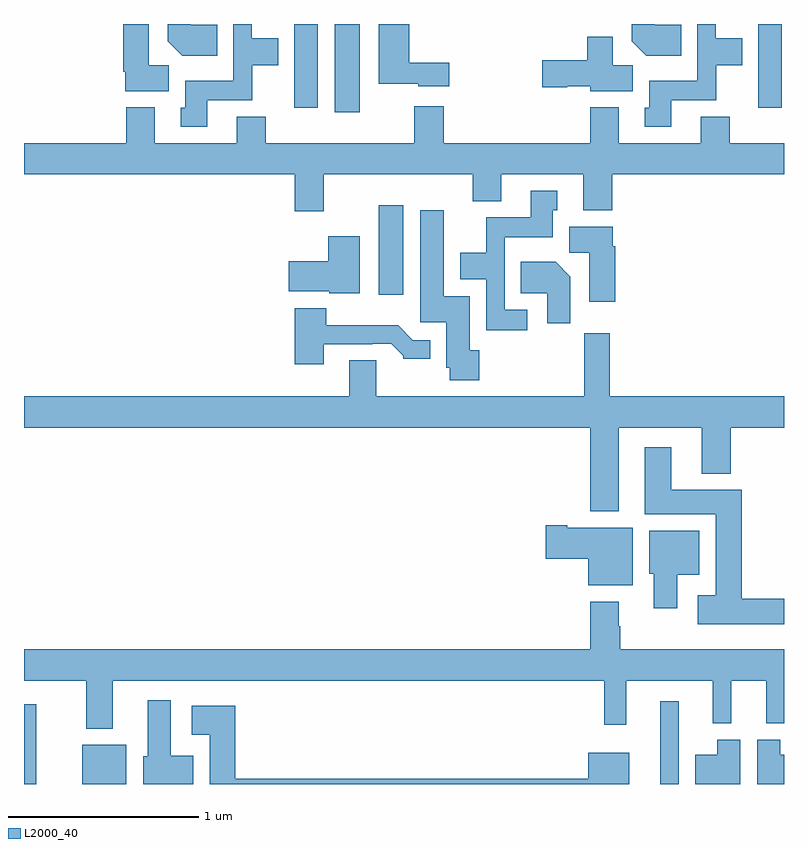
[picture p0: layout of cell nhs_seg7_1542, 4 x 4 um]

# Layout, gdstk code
import gdstk
lib = gdstk.Library(unit=1e-6, precision=1e-09)
def R(c, l, rs):  # rectangles x0, y0, x1, y1
    for r in rs: c.add(gdstk.rectangle(r[:2], r[2:], *l))
def P(c, l, *ps):  # polygons
    for p in ps: c.add(gdstk.Polygon(p, *l))
L2000_40 = (2000, 40)

nhs_seg7_1542 = lib.new_cell('nhs_seg7_1542')
R(nhs_seg7_1542, L2000_40, [(215,1072,215.065,1072.42), (215.306,1072,215.539,1072.207), (218.348,1072,218.445,1072.435), (216.866,1074.576,216.997,1075.045), (216.635,1075.536,216.766,1076), (216.422,1075.56,216.547,1076), (218.864,1075.56,218.989,1076)])
P(nhs_seg7_1542, L2000_40, [(218.407,1075.598),(218.643,1075.598),(218.643,1075.784),(218.779,1075.784),(218.779,1075.924),(218.64,1075.924),(218.64,1076),(218.544,1076),(218.544,1075.702),(218.291,1075.702),(218.291,1075.56),(218.267,1075.56),(218.267,1075.458),(218.407,1075.458)],
  [(215.965,1075.598),(216.201,1075.598),(216.201,1075.784),(216.337,1075.784),(216.337,1075.924),(216.198,1075.924),(216.198,1076),(216.102,1076),(216.102,1075.702),(215.849,1075.702),(215.849,1075.56),(215.825,1075.56),(215.825,1075.458),(215.965,1075.458)],
  [(218.459,1075.996),(218.32,1075.996),(218.32,1076),(218.198,1076),(218.198,1075.91),(218.276,1075.832),(218.459,1075.832)],
  [(215.761,1075.784),(215.656,1075.784),(215.656,1076),(215.522,1076),(215.522,1075.75),(215.534,1075.75),(215.534,1075.646),(215.761,1075.646)],
  [(216.017,1075.996),(215.878,1075.996),(215.878,1076),(215.756,1076),(215.756,1075.91),(215.834,1075.832),(216.017,1075.832)],
  [(217.237,1075.795),(217.028,1075.795),(217.028,1075.999),(216.866,1075.999),(216.866,1075.685),(217.074,1075.685),(217.074,1075.673),(217.237,1075.673)],
  [(218.203,1075.784),(218.098,1075.784),(218.098,1075.933),(217.964,1075.933),(217.964,1075.808),(217.728,1075.808),(217.728,1075.666),(217.86,1075.666),(217.86,1075.673),(217.98,1075.673),(217.98,1075.646),(218.203,1075.646)],
  [(216.577,1075.208),(217.361,1075.208),(217.361,1075.067),(217.513,1075.067),(217.513,1075.208),(217.943,1075.208),(217.943,1075.019),(218.096,1075.019),(218.096,1075.208),(219,1075.208),(219,1075.372),(218.714,1075.372),(218.714,1075.513),(218.561,1075.513),(218.561,1075.372),(218.131,1075.372),(218.131,1075.561),(217.979,1075.561),(217.979,1075.372),(217.208,1075.372),(217.208,1075.567),(217.055,1075.567),(217.055,1075.372),(216.272,1075.372),(216.272,1075.513),(216.119,1075.513),(216.119,1075.372),(215.689,1075.372),(215.689,1075.561),(215.537,1075.561),(215.537,1075.372),(215,1075.372),(215,1075.208),(216.425,1075.208),(216.425,1075.014),(216.577,1075.014)],
  [(217.648,1074.495),(217.53,1074.495),(217.53,1074.878),(217.783,1074.878),(217.783,1075.02),(217.807,1075.02),(217.807,1075.123),(217.667,1075.123),(217.667,1074.982),(217.432,1074.982),(217.432,1074.796),(217.295,1074.796),(217.295,1074.656),(217.434,1074.656),(217.434,1074.387),(217.648,1074.387)],
  [(217.397,1074.282),(217.345,1074.282),(217.345,1074.568),(217.21,1074.568),(217.21,1075.021),(217.085,1075.021),(217.085,1074.429),(217.223,1074.429),(217.223,1074.192),(217.24,1074.192),(217.24,1074.126),(217.397,1074.126)],
  [(218.111,1074.83),(218.098,1074.83),(218.098,1074.934),(217.871,1074.934),(217.871,1074.796),(217.976,1074.796),(217.976,1074.537),(218.111,1074.537)],
  [(216.766,1074.883),(216.602,1074.883),(216.602,1074.751),(216.393,1074.751),(216.393,1074.593),(216.606,1074.593),(216.606,1074.584),(216.766,1074.584)],
  [(217.876,1074.67),(217.798,1074.748),(217.615,1074.748),(217.615,1074.584),(217.754,1074.584),(217.754,1074.426),(217.876,1074.426)],
  [(216.577,1074.315),(216.833,1074.315),(216.833,1074.318),(216.932,1074.318),(216.996,1074.254),(216.996,1074.239),(217.138,1074.239),(217.138,1074.336),(217.047,1074.336),(216.969,1074.415),(216.59,1074.415),(216.59,1074.505),(216.425,1074.505),(216.425,1074.21),(216.577,1074.21)],
  [(217.948,1074.04),(216.853,1074.04),(216.853,1074.23),(216.713,1074.23),(216.713,1074.04),(215,1074.04),(215,1073.876),(217.979,1073.876),(217.979,1073.435),(218.131,1073.435),(218.131,1073.876),(218.567,1073.876),(218.567,1073.633),(218.72,1073.633),(218.72,1073.876),(219,1073.876),(219,1074.04),(218.084,1074.04),(218.084,1074.373),(217.948,1074.373)],
  [(219,1072.976),(218.777,1072.976),(218.777,1073.548),(218.407,1073.548),(218.407,1073.773),(218.267,1073.773),(218.267,1073.42),(218.642,1073.42),(218.642,1072.993),(218.547,1072.993),(218.547,1072.841),(219,1072.841)],
  [(218.203,1073.35),(217.858,1073.35),(217.858,1073.363),(217.746,1073.363),(217.746,1073.185),(217.97,1073.185),(217.97,1073.045),(218.203,1073.045)],
  [(218.437,1073.102),(218.554,1073.102),(218.554,1073.332),(218.291,1073.332),(218.291,1073.106),(218.315,1073.106),(218.315,1072.926),(218.437,1072.926)],
  [(215.467,1072.544),(218.053,1072.544),(218.053,1072.311),(218.171,1072.311),(218.171,1072.544),(218.624,1072.544),(218.624,1072.319),(218.723,1072.319),(218.723,1072.544),(218.906,1072.544),(218.906,1072.319),(219,1072.319),(219,1072.708),(218.139,1072.708),(218.139,1072.829),(218.131,1072.829),(218.131,1072.96),(217.979,1072.96),(217.979,1072.708),(215,1072.708),(215,1072.544),(215.327,1072.544),(215.327,1072.292),(215.467,1072.292)],
  [(215.89,1072.15),(215.773,1072.15),(215.773,1072.441),(215.651,1072.441),(215.651,1072.146),(215.627,1072.146),(215.627,1072),(215.89,1072)],
  [(218.185,1072.165),(217.97,1072.165),(217.97,1072.028),(216.113,1072.028),(216.113,1072.411),(215.883,1072.411),(215.883,1072.259),(215.978,1072.259),(215.978,1072),(218.185,1072)],
  [(218.77,1072.234),(218.648,1072.234),(218.648,1072.153),(218.534,1072.153),(218.534,1072),(218.77,1072)],
  [(219,1072.153),(218.98,1072.153),(218.98,1072.234),(218.858,1072.234),(218.858,1072),(219,1072)])

lib.write_gds('nhs_seg7_1542.gds')
